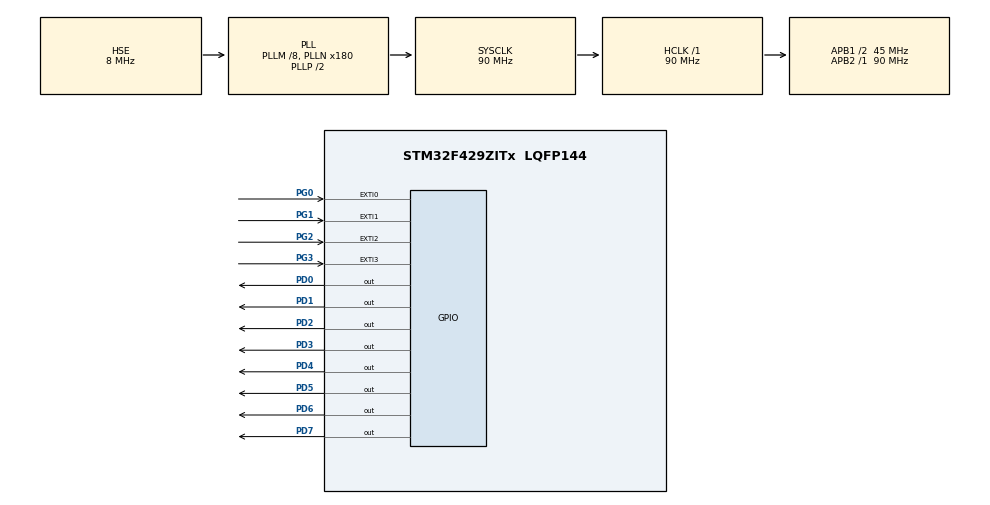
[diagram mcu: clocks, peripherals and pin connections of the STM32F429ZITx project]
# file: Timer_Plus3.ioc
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Mcu.Family=STM32F4
Mcu.Name=STM32F429ZITx
Mcu.Package=LQFP144
NVIC.EXTI0_IRQn=true\:0\:0\:false\:false\:true\:true\:true\:true
NVIC.EXTI1_IRQn=true\:0\:0\:false\:false\:true\:true\:true\:true
NVIC.EXTI2_IRQn=true\:0\:0\:false\:false\:true\:true\:true\:true
NVIC.EXTI3_IRQn=true\:0\:0\:false\:false\:true\:true\:true\:true
NVIC.PriorityGroup=NVIC_PRIORITYGROUP_4
NVIC.TIM2_IRQn=true\:0\:0\:false\:false\:true\:true\:true\:true
NVIC.TIM4_IRQn=true\:0\:0\:false\:false\:true\:true\:true\:true
PA13.Mode=Serial_Wire
PA13.Signal=SYS_JTMS-SWDIO
PA14.Mode=Serial_Wire
PA14.Signal=SYS_JTCK-SWCLK
PD0.GPIO_ModeDefaultOutputPP=GPIO_MODE_OUTPUT_PP
PD0.GPIO_PuPd=GPIO_PULLUP
PD0.GPIO_Speed=GPIO_SPEED_FREQ_HIGH
PD0.PinState=GPIO_PIN_RESET
PD0.Signal=GPIO_Output
PD1.GPIO_ModeDefaultOutputPP=GPIO_MODE_OUTPUT_PP
PD1.GPIO_PuPd=GPIO_PULLUP
PD1.GPIO_Speed=GPIO_SPEED_FREQ_HIGH
PD1.PinState=GPIO_PIN_RESET
PD1.Signal=GPIO_Output
PD2.GPIO_ModeDefaultOutputPP=GPIO_MODE_OUTPUT_PP
PD2.GPIO_PuPd=GPIO_PULLUP
PD2.GPIO_Speed=GPIO_SPEED_FREQ_HIGH
PD2.PinState=GPIO_PIN_RESET
PD2.Signal=GPIO_Output
PD3.GPIO_ModeDefaultOutputPP=GPIO_MODE_OUTPUT_PP
PD3.GPIO_PuPd=GPIO_PULLUP
PD3.GPIO_Speed=GPIO_SPEED_FREQ_HIGH
PD3.PinState=GPIO_PIN_RESET
PD3.Signal=GPIO_Output
PD4.GPIO_ModeDefaultOutputPP=GPIO_MODE_OUTPUT_PP
PD4.GPIO_PuPd=GPIO_PULLUP
PD4.GPIO_Speed=GPIO_SPEED_FREQ_HIGH
PD4.PinState=GPIO_PIN_RESET
PD4.Signal=GPIO_Output
PD5.GPIO_ModeDefaultOutputPP=GPIO_MODE_OUTPUT_PP
PD5.GPIO_PuPd=GPIO_PULLUP
PD5.GPIO_Speed=GPIO_SPEED_FREQ_HIGH
PD5.PinState=GPIO_PIN_RESET
PD5.Signal=GPIO_Output
PD6.GPIO_ModeDefaultOutputPP=GPIO_MODE_OUTPUT_PP
PD6.GPIO_PuPd=GPIO_PULLUP
PD6.GPIO_Speed=GPIO_SPEED_FREQ_HIGH
PD6.PinState=GPIO_PIN_RESET
PD6.Signal=GPIO_Output
PD7.GPIO_ModeDefaultOutputPP=GPIO_MODE_OUTPUT_PP
PD7.GPIO_PuPd=GPIO_PULLUP
PD7.GPIO_Speed=GPIO_SPEED_FREQ_HIGH
PD7.PinState=GPIO_PIN_RESET
PD7.Signal=GPIO_Output
PG0.GPIO_ModeDefaultEXTI=GPIO_MODE_IT_FALLING
PG0.GPIO_PuPd=GPIO_NOPULL
PG0.Signal=GPXTI0
PG1.GPIO_ModeDefaultEXTI=GPIO_MODE_IT_FALLING
PG1.GPIO_PuPd=GPIO_NOPULL
PG1.Signal=GPXTI1
PG2.GPIO_ModeDefaultEXTI=GPIO_MODE_IT_FALLING
PG2.GPIO_PuPd=GPIO_NOPULL
PG2.Signal=GPXTI2
PG3.GPIO_ModeDefaultEXTI=GPIO_MODE_IT_FALLING
PG3.GPIO_PuPd=GPIO_NOPULL
PG3.Signal=GPXTI3
PH0/OSC_IN.Mode=HSE-External-Clock-Source
PH0/OSC_IN.Signal=RCC_OSC_IN
PH1/OSC_OUT.Mode=HSE-External-Clock-Source
PH1/OSC_OUT.Signal=RCC_OSC_OUT
ProjectManager.HeapSize=0x200
ProjectManager.StackSize=0x400
ProjectManager.TargetToolchain=STM32CubeIDE
RCC.48MHZClocksFreq_Value=45000000
RCC.AHBFreq_Value=90000000
RCC.APB1CLKDivider=RCC_HCLK_DIV2
RCC.APB1Freq_Value=45000000
RCC.APB1TimFreq_Value=90000000
RCC.APB2Freq_Value=90000000
RCC.APB2TimFreq_Value=90000000
RCC.CortexFreq_Value=90000000
RCC.HCLKFreq_Value=90000000
RCC.HSE_VALUE=8000000
RCC.HSI_VALUE=16000000
RCC.LSE_VALUE=32768
RCC.PLLM=8
RCC.PLLN=180
RCC.PLLSourceVirtual=RCC_PLLSOURCE_HSE
RCC.SYSCLKFreq_VALUE=90000000
RCC.SYSCLKSource=RCC_SYSCLKSOURCE_PLLCLK
RCC.VCOOutputFreq_Value=180000000
TIM2.Period=9999
TIM2.Prescaler=8999
TIM4.Period=9999
TIM4.Prescaler=8999
VP_TIM2_VS_ClockSourceINT.Mode=Internal
VP_TIM4_VS_ClockSourceINT.Mode=Internal
board=custom

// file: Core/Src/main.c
/* USER CODE BEGIN Header */
/**
  ******************************************************************************
  * @file           : main.c
  * @brief          : Main program body
  ******************************************************************************
  * @attention
  *
  * Copyright (c) 2022 STMicroelectronics.
  * All rights reserved.
  *
  * This software is licensed under terms that can be found in the LICENSE file
  * in the root directory of this software component.
  * If no LICENSE file comes with this software, it is provided AS-IS.
  *
  ******************************************************************************
  */
/* USER CODE END Header */
#include "main.h"

TIM_HandleTypeDef htim2;
TIM_HandleTypeDef htim4;

void SystemClock_Config(void);
static void MX_GPIO_Init(void);
static void MX_TIM2_Init(void);
static void MX_TIM4_Init(void);
/* USER CODE BEGIN PFP */
void LED_OnOff(int, int);
int speed1 = 0;
int speed2 = 0;
int count1 = 0;
int count2 = 0;
/* USER CODE END PFP */

int main(void)
{
  /* USER CODE BEGIN 1 */
   uint16_t led = 0x01;
   uint16_t led2 = 0x80;
  /* USER CODE END 1 */

  /* MCU Configuration--------------------------------------------------------*/

  /* Reset of all peripherals, Initializes the Flash interface and the Systick. */
  HAL_Init();

  /* Configure the system clock */
  SystemClock_Config();

  /* Initialize all configured peripherals */
  MX_GPIO_Init();
  MX_TIM2_Init();
  MX_TIM4_Init();
  /* USER CODE BEGIN 2 */
  LED_OnOff(LED_ALL, 500);
  HAL_TIM_Base_Start_IT(&htim2);
  HAL_TIM_Base_Start_IT(&htim4);
  /* USER CODE END 2 */

  /* Infinite loop */
  /* USER CODE BEGIN WHILE */
  while (1)
  {
     if(speed1 == 1){
        led <<=1;
        if(led>0x80){
           led=0x01;
           count1 ++;
        }
        speed1 = 0;
     }
     if(speed2 == 1){
        led2 >>= 1;
        if(led2<0x01){
           led2=0x80;
           count2 ++;
        }
        speed2 = 0;
     }
     if (count1 % 2 == 0){
        LED_OnOff(led, 400);
        LED_OnOff(led2, 400);
     }
     if (count1 % 2 == 1){
        LED_OnOff(led, 200);
        LED_OnOff(led2, 200);
     }
    /* USER CODE END WHILE */

  }
}

void SystemClock_Config(void)
{
  RCC_OscInitTypeDef RCC_OscInitStruct = {0};
  RCC_ClkInitTypeDef RCC_ClkInitStruct = {0};

  /** Configure the main internal regulator output voltage
  */
  __HAL_RCC_PWR_CLK_ENABLE();
  __HAL_PWR_VOLTAGESCALING_CONFIG(PWR_REGULATOR_VOLTAGE_SCALE3);

  /** Initializes the RCC Oscillators according to the specified parameters
  * in the RCC_OscInitTypeDef structure.
  */
  RCC_OscInitStruct.OscillatorType = RCC_OSCILLATORTYPE_HSE;
  RCC_OscInitStruct.HSEState = RCC_HSE_BYPASS;
  RCC_OscInitStruct.PLL.PLLState = RCC_PLL_ON;
  RCC_OscInitStruct.PLL.PLLSource = RCC_PLLSOURCE_HSE;
  RCC_OscInitStruct.PLL.PLLM = 8;
  RCC_OscInitStruct.PLL.PLLN = 180;
  RCC_OscInitStruct.PLL.PLLP = RCC_PLLP_DIV2;
  RCC_OscInitStruct.PLL.PLLQ = 4;
  if (HAL_RCC_OscConfig(&RCC_OscInitStruct) != HAL_OK)
  {
    Error_Handler();
  }

  /** Activate the Over-Drive mode
  */
  if (HAL_PWREx_EnableOverDrive() != HAL_OK)
  {
    Error_Handler();
  }

  /** Initializes the CPU, AHB and APB buses clocks
  */
  RCC_ClkInitStruct.ClockType = RCC_CLOCKTYPE_HCLK|RCC_CLOCKTYPE_SYSCLK
                              |RCC_CLOCKTYPE_PCLK1|RCC_CLOCKTYPE_PCLK2;
  RCC_ClkInitStruct.SYSCLKSource = RCC_SYSCLKSOURCE_PLLCLK;
  RCC_ClkInitStruct.AHBCLKDivider = RCC_SYSCLK_DIV1;
  RCC_ClkInitStruct.APB1CLKDivider = RCC_HCLK_DIV2;
  RCC_ClkInitStruct.APB2CLKDivider = RCC_HCLK_DIV1;

  if (HAL_RCC_ClockConfig(&RCC_ClkInitStruct, FLASH_LATENCY_2) != HAL_OK)
  {
    Error_Handler();
  }
}

static void MX_TIM2_Init(void)
{

  TIM_ClockConfigTypeDef sClockSourceConfig = {0};
  TIM_MasterConfigTypeDef sMasterConfig = {0};

  htim2.Instance = TIM2;
  htim2.Init.Prescaler = 999;
  htim2.Init.CounterMode = TIM_COUNTERMODE_UP;
  htim2.Init.Period = 9999;
  htim2.Init.ClockDivision = TIM_CLOCKDIVISION_DIV1;
  htim2.Init.AutoReloadPreload = TIM_AUTORELOAD_PRELOAD_DISABLE;
  if (HAL_TIM_Base_Init(&htim2) != HAL_OK)
  {
    Error_Handler();
  }
  sClockSourceConfig.ClockSource = TIM_CLOCKSOURCE_INTERNAL;
  if (HAL_TIM_ConfigClockSource(&htim2, &sClockSourceConfig) != HAL_OK)
  {
    Error_Handler();
  }
  sMasterConfig.MasterOutputTrigger = TIM_TRGO_RESET;
  sMasterConfig.MasterSlaveMode = TIM_MASTERSLAVEMODE_DISABLE;
  if (HAL_TIMEx_MasterConfigSynchronization(&htim2, &sMasterConfig) != HAL_OK)
  {
    Error_Handler();
  }

}

static void MX_TIM4_Init(void)
{

  TIM_ClockConfigTypeDef sClockSourceConfig = {0};
  TIM_MasterConfigTypeDef sMasterConfig = {0};

  htim4.Instance = TIM4;
  htim4.Init.Prescaler = 999;
  htim4.Init.CounterMode = TIM_COUNTERMODE_UP;
  htim4.Init.Period = 9999;
  htim4.Init.ClockDivision = TIM_CLOCKDIVISION_DIV1;
  htim4.Init.AutoReloadPreload = TIM_AUTORELOAD_PRELOAD_DISABLE;
  if (HAL_TIM_Base_Init(&htim4) != HAL_OK)
  {
    Error_Handler();
  }
  sClockSourceConfig.ClockSource = TIM_CLOCKSOURCE_INTERNAL;
  if (HAL_TIM_ConfigClockSource(&htim4, &sClockSourceConfig) != HAL_OK)
  {
    Error_Handler();
  }
  sMasterConfig.MasterOutputTrigger = TIM_TRGO_RESET;
  sMasterConfig.MasterSlaveMode = TIM_MASTERSLAVEMODE_DISABLE;
  if (HAL_TIMEx_MasterConfigSynchronization(&htim4, &sMasterConfig) != HAL_OK)
  {
    Error_Handler();
  }

}

static void MX_GPIO_Init(void)
{
  GPIO_InitTypeDef GPIO_InitStruct = {0};

  /* GPIO Ports Clock Enable */
  __HAL_RCC_GPIOH_CLK_ENABLE();
  __HAL_RCC_GPIOG_CLK_ENABLE();
  __HAL_RCC_GPIOA_CLK_ENABLE();
  __HAL_RCC_GPIOD_CLK_ENABLE();

  /*Configure GPIO pin Output Level */
  HAL_GPIO_WritePin(GPIOD, GPIO_PIN_0|GPIO_PIN_1|GPIO_PIN_2|GPIO_PIN_3
                          |GPIO_PIN_4|GPIO_PIN_5|GPIO_PIN_6|GPIO_PIN_7, GPIO_PIN_RESET);

  /*Configure GPIO pins : PG0 PG1 PG2 PG3 */
  GPIO_InitStruct.Pin = GPIO_PIN_0|GPIO_PIN_1|GPIO_PIN_2|GPIO_PIN_3;
  GPIO_InitStruct.Mode = GPIO_MODE_IT_FALLING;
  GPIO_InitStruct.Pull = GPIO_NOPULL;
  HAL_GPIO_Init(GPIOG, &GPIO_InitStruct);

  /*Configure GPIO pins : PD0 PD1 PD2 PD3
                           PD4 PD5 PD6 PD7 */
  GPIO_InitStruct.Pin = GPIO_PIN_0|GPIO_PIN_1|GPIO_PIN_2|GPIO_PIN_3
                          |GPIO_PIN_4|GPIO_PIN_5|GPIO_PIN_6|GPIO_PIN_7;
  GPIO_InitStruct.Mode = GPIO_MODE_OUTPUT_PP;
  GPIO_InitStruct.Pull = GPIO_PULLUP;
  GPIO_InitStruct.Speed = GPIO_SPEED_FREQ_HIGH;
  HAL_GPIO_Init(GPIOD, &GPIO_InitStruct);

  /* EXTI interrupt init*/
  HAL_NVIC_SetPriority(EXTI0_IRQn, 0, 0);
  HAL_NVIC_EnableIRQ(EXTI0_IRQn);

  HAL_NVIC_SetPriority(EXTI1_IRQn, 0, 0);
  HAL_NVIC_EnableIRQ(EXTI1_IRQn);

  HAL_NVIC_SetPriority(EXTI2_IRQn, 0, 0);
  HAL_NVIC_EnableIRQ(EXTI2_IRQn);

  HAL_NVIC_SetPriority(EXTI3_IRQn, 0, 0);
  HAL_NVIC_EnableIRQ(EXTI3_IRQn);

}

/* USER CODE BEGIN 4 */
void LED_OnOff(int led, int interval){
   HAL_GPIO_WritePin(GPIO_LED, led, GPIO_PIN_SET);
   HAL_GPIO_WritePin(GPIO_LED_Nucleo, led, GPIO_PIN_SET);

   HAL_Delay(interval);

   HAL_GPIO_WritePin(GPIO_LED, led, GPIO_PIN_RESET);
   HAL_GPIO_WritePin(GPIO_LED_Nucleo, led, GPIO_PIN_RESET);
}
void HAL_TIM_PeriodElapsedCallback(TIM_HandleTypeDef *htim)
{
   if (htim -> Instance == TIM2) {
      speed1 = 1;
   }
   else if (htim -> Instance == TIM4) {
	   speed2 = 1;
   }
}
/* USER CODE END 4 */

void Error_Handler(void)
{
  __disable_irq();
  while (1)
  {
  }
}
